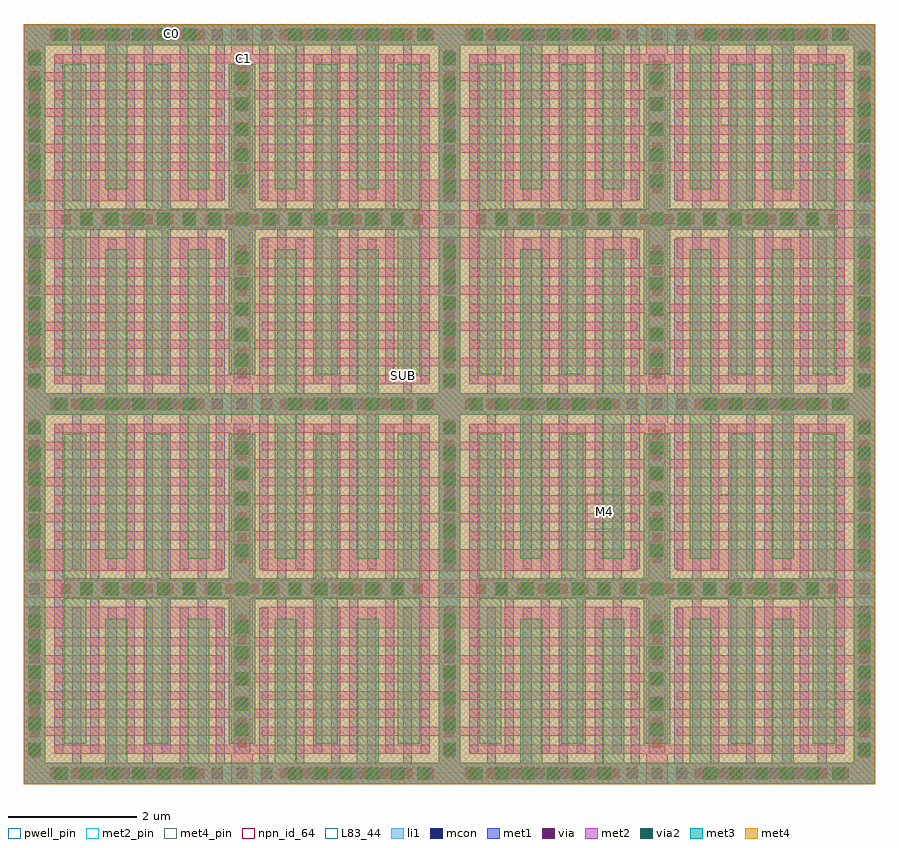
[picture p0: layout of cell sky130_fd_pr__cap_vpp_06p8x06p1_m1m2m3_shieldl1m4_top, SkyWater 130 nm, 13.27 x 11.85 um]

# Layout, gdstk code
import gdstk
lib = gdstk.Library(unit=1e-6, precision=1e-09)
def R(c, l, rs):  # rectangles x0, y0, x1, y1
    for r in rs: c.add(gdstk.rectangle(r[:2], r[2:], *l))
def A(c, l, x, y, w, h, nx, ny, dx, dy):  # array of equal rectangles
    R(c, l, [(x+i*dx, y+j*dy, x+i*dx+w, y+j*dy+h) for i in range(nx) for j in range(ny)])
def P(c, l, *ps):  # polygons
    for p in ps: c.add(gdstk.Polygon(p, *l))
li1 = (67, 20)
mcon = (67, 44)
met1 = (68, 20)
via = (68, 44)
met2_pin = (69, 16)
met2 = (69, 20)
via2 = (69, 44)
met3 = (70, 20)
met4_pin = (71, 16)
met4 = (71, 20)
npn_id_64 = (82, 64)
L83_44 = (83, 44)
pwell_pin = (122, 16)

sky130_fd_pr__cap_vpp_06 = lib.new_cell('sky130_fd_pr__cap_vpp_06p8x06p1_m1m2m3_shieldl1m4')
R(sky130_fd_pr__cap_vpp_06, li1, [(0,0,6.8,6.09)])
A(sky130_fd_pr__cap_vpp_06, mcon, 0.41, 0.08, 0.17, 0.17, 8, 2, 0.36, 5.76)
A(sky130_fd_pr__cap_vpp_06, mcon, 3.7, 0.08, 0.17, 0.17, 8, 2, 0.36, 5.76)
A(sky130_fd_pr__cap_vpp_06, mcon, 0.08, 0.44, 0.17, 0.17, 1, 15, 0, 0.36)
A(sky130_fd_pr__cap_vpp_06, mcon, 6.55, 0.44, 0.17, 0.17, 1, 15, 0, 0.36)
R(sky130_fd_pr__cap_vpp_06, mcon, [(3.315,0.08,3.485,0.25), (3.315,5.84,3.485,6.01)])
P(sky130_fd_pr__cap_vpp_06, met1, [(6.33,5.62),(6.19,5.62),(6.19,3.205),(5.77,3.205),(5.77,5.62),(5.63,5.62),(5.63,3.205),(5.21,3.205),(5.21,5.62),(5.07,5.62),(5.07,3.205),(4.65,3.205),(4.65,5.62),(4.51,5.62),(4.51,3.205),(4.09,3.205),(4.09,5.62),(3.95,5.62),(3.95,3.205),(3.53,3.205),(3.53,5.62),(3.27,5.62),(3.27,3.205),(2.85,3.205),(2.85,5.62),(2.71,5.62),(2.71,3.205),(2.29,3.205),(2.29,5.62),(2.15,5.62),(2.15,3.205),(1.73,3.205),(1.73,5.62),(1.59,5.62),(1.59,3.205),(1.17,3.205),(1.17,5.62),(1.03,5.62),(1.03,3.205),(0.61,3.205),(0.61,5.62),(0.47,5.62),(0.47,0.47),(0.61,0.47),(0.61,2.885),(1.03,2.885),(1.03,0.47),(1.17,0.47),(1.17,2.885),(1.59,2.885),(1.59,0.47),(1.73,0.47),(1.73,2.885),(2.15,2.885),(2.15,0.47),(2.29,0.47),(2.29,2.885),(2.71,2.885),(2.71,0.47),(2.85,0.47),(2.85,2.885),(3.27,2.885),(3.27,0.47),(3.53,0.47),(3.53,2.885),(3.95,2.885),(3.95,0.47),(4.09,0.47),(4.09,2.885),(4.51,2.885),(4.51,0.47),(4.65,0.47),(4.65,2.885),(5.07,2.885),(5.07,0.47),(5.21,0.47),(5.21,2.885),(5.63,2.885),(5.63,0.47),(5.77,0.47),(5.77,2.885),(6.19,2.885),(6.19,0.47),(6.33,0.47)],
  [(6.8,6.09),(6.47,6.09),(6.47,0.33),(6.05,0.33),(6.05,2.745),(5.91,2.745),(5.91,0.33),(5.49,0.33),(5.49,2.745),(5.35,2.745),(5.35,0.33),(4.93,0.33),(4.93,2.745),(4.79,2.745),(4.79,0.33),(4.37,0.33),(4.37,2.745),(4.23,2.745),(4.23,0.33),(3.81,0.33),(3.81,2.745),(3.67,2.745),(3.67,0.33),(3.13,0.33),(3.13,2.745),(2.99,2.745),(2.99,0.33),(2.57,0.33),(2.57,2.745),(2.43,2.745),(2.43,0.33),(2.01,0.33),(2.01,2.745),(1.87,2.745),(1.87,0.33),(1.45,0.33),(1.45,2.745),(1.31,2.745),(1.31,0.33),(0.89,0.33),(0.89,2.745),(0.75,2.745),(0.75,0.33),(0.33,0.33),(0.33,5.76),(0.75,5.76),(0.75,3.345),(0.89,3.345),(0.89,5.76),(1.31,5.76),(1.31,3.345),(1.45,3.345),(1.45,5.76),(1.87,5.76),(1.87,3.345),(2.01,3.345),(2.01,5.76),(2.43,5.76),(2.43,3.345),(2.57,3.345),(2.57,5.76),(2.99,5.76),(2.99,3.345),(3.13,3.345),(3.13,5.76),(3.67,5.76),(3.67,3.345),(3.81,3.345),(3.81,5.76),(4.23,5.76),(4.23,3.345),(4.37,3.345),(4.37,5.76),(4.79,5.76),(4.79,3.345),(4.93,3.345),(4.93,5.76),(5.35,5.76),(5.35,3.345),(5.49,3.345),(5.49,5.76),(5.91,5.76),(5.91,3.345),(6.05,3.345),(6.05,5.76),(6.47,5.76),(6.47,6.09),(0,6.09),(0,0),(6.8,0)])
A(sky130_fd_pr__cap_vpp_06, via, 0.42, 0.09, 0.15, 0.15, 8, 2, 0.32, 5.76)
A(sky130_fd_pr__cap_vpp_06, via, 3.99, 0.09, 0.15, 0.15, 8, 2, 0.32, 5.76)
A(sky130_fd_pr__cap_vpp_06, via, 0.09, 0.41, 0.15, 0.15, 1, 7, 0, 0.32)
A(sky130_fd_pr__cap_vpp_06, via, 6.56, 0.41, 0.15, 0.15, 1, 7, 0, 0.32)
A(sky130_fd_pr__cap_vpp_06, via, 3.325, 0.57, 0.15, 0.15, 1, 7, 0, 0.32)
A(sky130_fd_pr__cap_vpp_06, via, 3.325, 3.45, 0.15, 0.15, 1, 7, 0, 0.32)
A(sky130_fd_pr__cap_vpp_06, via, 0.09, 3.61, 0.15, 0.15, 1, 7, 0, 0.32)
A(sky130_fd_pr__cap_vpp_06, via, 6.56, 3.61, 0.15, 0.15, 1, 7, 0, 0.32)
R(sky130_fd_pr__cap_vpp_06, via, [(0.58,2.97,0.73,3.12), (0.58,2.97,0.73,3.12), (0.9,2.97,1.05,3.12), (0.9,2.97,1.05,3.12), (1.22,2.97,1.37,3.12), (1.22,2.97,1.37,3.12), (1.54,2.97,1.69,3.12), (1.54,2.97,1.69,3.12), (1.86,2.97,2.01,3.12), (1.86,2.97,2.01,3.12), (1.86,2.97,2.01,3.12), (2.18,2.97,2.33,3.12), (2.18,2.97,2.33,3.12), (2.5,2.97,2.65,3.12), (2.5,2.97,2.65,3.12), (2.82,2.97,2.97,3.12), (2.82,2.97,2.97,3.12), (3.14,2.97,3.29,3.12), (3.14,2.97,3.29,3.12), (3.14,2.97,3.29,3.12), (3.51,2.97,3.66,3.12), (3.51,2.97,3.66,3.12), (3.83,2.97,3.98,3.12), (3.83,2.97,3.98,3.12), (4.15,2.97,4.3,3.12), (4.15,2.97,4.3,3.12), (4.47,2.97,4.62,3.12), (4.47,2.97,4.62,3.12), (4.47,2.97,4.62,3.12), (4.79,2.97,4.94,3.12), (4.79,2.97,4.94,3.12), (5.11,2.97,5.26,3.12), (5.11,2.97,5.26,3.12), (5.43,2.97,5.58,3.12), (5.43,2.97,5.58,3.12), (5.75,2.97,5.9,3.12), (5.75,2.97,5.9,3.12), (5.75,2.97,5.9,3.12), (6.07,2.97,6.22,3.12), (6.07,2.97,6.22,3.12)])
R(sky130_fd_pr__cap_vpp_06, met2_pin, [(3.26,5.845,3.52,6.025), (2.735,5.87,2.83,5.97)])
P(sky130_fd_pr__cap_vpp_06, met2, [(3.095,3.66),(0.33,3.66),(0.33,4.08),(3.095,4.08),(3.095,4.22),(0.33,4.22),(0.33,4.64),(3.095,4.64),(3.095,4.78),(0.33,4.78),(0.33,5.2),(3.095,5.2),(3.095,5.34),(0.33,5.34),(0.33,5.76),(3.095,5.76),(3.095,6.09),(0,6.09),(0,3.325),(3.095,3.325)],
  [(6.8,2.765),(3.705,2.765),(3.705,2.43),(6.47,2.43),(6.47,2.01),(3.705,2.01),(3.705,1.87),(6.47,1.87),(6.47,1.45),(3.705,1.45),(3.705,1.31),(6.47,1.31),(6.47,0.89),(3.705,0.89),(3.705,0.75),(6.47,0.75),(6.47,0.33),(3.705,0.33),(3.705,0),(6.8,0)],
  [(6.8,3.185),(3.565,3.185),(3.565,3.8),(6.33,3.8),(6.33,3.94),(3.565,3.94),(3.565,4.36),(6.33,4.36),(6.33,4.5),(3.565,4.5),(3.565,4.92),(6.33,4.92),(6.33,5.06),(3.565,5.06),(3.565,5.48),(6.33,5.48),(6.33,5.62),(3.565,5.62),(3.565,6.09),(3.235,6.09),(3.235,5.62),(0.47,5.62),(0.47,5.48),(3.235,5.48),(3.235,5.06),(0.47,5.06),(0.47,4.92),(3.235,4.92),(3.235,4.5),(0.47,4.5),(0.47,4.36),(3.235,4.36),(3.235,3.94),(0.47,3.94),(0.47,3.8),(3.235,3.8),(3.235,3.185),(0,3.185),(0,2.905),(3.235,2.905),(3.235,2.29),(0.47,2.29),(0.47,2.15),(3.235,2.15),(3.235,1.73),(0.47,1.73),(0.47,1.59),(3.235,1.59),(3.235,1.17),(0.47,1.17),(0.47,1.03),(3.235,1.03),(3.235,0.61),(0.47,0.61),(0.47,0.47),(3.235,0.47),(3.235,0),(3.565,0),(3.565,0.47),(6.33,0.47),(6.33,0.61),(3.565,0.61),(3.565,1.03),(6.33,1.03),(6.33,1.17),(3.565,1.17),(3.565,1.59),(6.33,1.59),(6.33,1.73),(3.565,1.73),(3.565,2.15),(6.33,2.15),(6.33,2.29),(3.565,2.29),(3.565,2.905),(6.8,2.905)],
  [(3.095,0.33),(0.33,0.33),(0.33,0.75),(3.095,0.75),(3.095,0.89),(0.33,0.89),(0.33,1.31),(3.095,1.31),(3.095,1.45),(0.33,1.45),(0.33,1.87),(3.095,1.87),(3.095,2.01),(0.33,2.01),(0.33,2.43),(3.095,2.43),(3.095,2.765),(0,2.765),(0,0),(3.095,0)],
  [(6.8,6.09),(3.705,6.09),(3.705,5.76),(6.47,5.76),(6.47,5.34),(3.705,5.34),(3.705,5.2),(6.47,5.2),(6.47,4.78),(3.705,4.78),(3.705,4.64),(6.47,4.64),(6.47,4.22),(3.705,4.22),(3.705,4.08),(6.47,4.08),(6.47,3.66),(3.705,3.66),(3.705,3.325),(6.8,3.325)])
A(sky130_fd_pr__cap_vpp_06, via2, 0.48, 0.065, 0.2, 0.2, 6, 2, 0.4, 5.76)
A(sky130_fd_pr__cap_vpp_06, via2, 4.13, 0.065, 0.2, 0.2, 6, 2, 0.4, 5.76)
A(sky130_fd_pr__cap_vpp_06, via2, 0.065, 0.44, 0.2, 0.2, 1, 6, 0, 0.4)
A(sky130_fd_pr__cap_vpp_06, via2, 6.535, 0.44, 0.2, 0.2, 1, 6, 0, 0.4)
A(sky130_fd_pr__cap_vpp_06, via2, 3.295, 0.745, 0.2, 0.2, 1, 5, 0, 0.4)
A(sky130_fd_pr__cap_vpp_06, via2, 0.875, 2.945, 0.2, 0.2, 6, 1, 0.4, 0)
A(sky130_fd_pr__cap_vpp_06, via2, 3.725, 2.945, 0.2, 0.2, 6, 1, 0.4, 0)
A(sky130_fd_pr__cap_vpp_06, via2, 0.065, 3.45, 0.2, 0.2, 1, 6, 0, 0.4)
A(sky130_fd_pr__cap_vpp_06, via2, 6.535, 3.45, 0.2, 0.2, 1, 6, 0, 0.4)
A(sky130_fd_pr__cap_vpp_06, via2, 3.295, 3.545, 0.2, 0.2, 1, 5, 0, 0.4)
R(sky130_fd_pr__cap_vpp_06, via2, [(3.3,2.945,3.5,3.145)])
P(sky130_fd_pr__cap_vpp_06, met3, [(6.17,5.46),(5.83,5.46),(5.83,3.21),(4.89,3.21),(4.89,5.46),(4.55,5.46),(4.55,3.21),(3.61,3.21),(3.61,5.46),(3.19,5.46),(3.19,3.21),(2.25,3.21),(2.25,5.46),(1.91,5.46),(1.91,3.21),(0.97,3.21),(0.97,5.46),(0.63,5.46),(0.63,0.63),(0.97,0.63),(0.97,2.88),(1.91,2.88),(1.91,0.63),(2.25,0.63),(2.25,2.88),(3.19,2.88),(3.19,0.63),(3.61,0.63),(3.61,2.88),(4.55,2.88),(4.55,0.63),(4.89,0.63),(4.89,2.88),(5.83,2.88),(5.83,0.63),(6.17,0.63)],
  [(6.8,6.09),(6.47,6.09),(6.47,0.33),(5.53,0.33),(5.53,2.58),(5.19,2.58),(5.19,0.33),(4.25,0.33),(4.25,2.58),(3.91,2.58),(3.91,0.33),(2.89,0.33),(2.89,2.58),(2.55,2.58),(2.55,0.33),(1.61,0.33),(1.61,2.58),(1.27,2.58),(1.27,0.33),(0.33,0.33),(0.33,5.76),(1.27,5.76),(1.27,3.51),(1.61,3.51),(1.61,5.76),(2.55,5.76),(2.55,3.51),(2.89,3.51),(2.89,5.76),(3.91,5.76),(3.91,3.51),(4.25,3.51),(4.25,5.76),(5.19,5.76),(5.19,3.51),(5.53,3.51),(5.53,5.76),(6.47,5.76),(6.47,6.09),(0,6.09),(0,0),(6.8,0)])
R(sky130_fd_pr__cap_vpp_06, met4_pin, [(4.395,4.51,4.66,4.785)])
R(sky130_fd_pr__cap_vpp_06, met4, [(0,0,6.8,6.09)])
R(sky130_fd_pr__cap_vpp_06, npn_id_64, [(0.17,0.17,6.63,5.92)])
R(sky130_fd_pr__cap_vpp_06, L83_44, [(0.17,0.17,6.63,5.92), (3.085,5.76,3.09,6.09), (3.235,6.08,3.565,6.085)])
R(sky130_fd_pr__cap_vpp_06, pwell_pin, [(2.735,4.37,2.84,4.615)])
sky130_fd_pr__cap_vpp_06.add(gdstk.Label('MET4', (4.53,4.65), layer=71, texttype=5))
sky130_fd_pr__cap_vpp_06.add(gdstk.Label('C0', (2.77,5.93), layer=69, texttype=5))
sky130_fd_pr__cap_vpp_06.add(gdstk.Label('C1', (3.365,5.935), layer=69, texttype=5))
sky130_fd_pr__cap_vpp_06.add(gdstk.Label('SUB', (2.79,4.495), layer=64, texttype=59))

c_sky130_fd_pr__cap_vpp_06 = lib.new_cell('sky130_fd_pr__cap_vpp_06p8x06p1_m1m2m3_shieldl1m4_top')
R(c_sky130_fd_pr__cap_vpp_06, met2_pin, [(3.37,11.235,3.49,11.375), (2.225,11.625,2.38,11.77)])
R(c_sky130_fd_pr__cap_vpp_06, met4_pin, [(8.775,3.975,9.33,4.525)])
R(c_sky130_fd_pr__cap_vpp_06, pwell_pin, [(5.895,6.345,5.945,6.395)])
r = gdstk.Reference(sky130_fd_pr__cap_vpp_06, (0,0)); r.repetition = gdstk.Repetition(2, 2, v1=(6.47,0), v2=(0,5.76)); c_sky130_fd_pr__cap_vpp_06.add(r)
c_sky130_fd_pr__cap_vpp_06.add(gdstk.Label('SUB', (5.92,6.37), layer=64, texttype=59))
c_sky130_fd_pr__cap_vpp_06.add(gdstk.Label('C0', (2.305,11.7), layer=69, texttype=5))
c_sky130_fd_pr__cap_vpp_06.add(gdstk.Label('C1', (3.43,11.305), layer=69, texttype=5))
c_sky130_fd_pr__cap_vpp_06.add(gdstk.Label('M4', (9.055,4.25), layer=71, texttype=5))

lib.write_gds('sky130_fd_pr__cap_vpp_06p8x06p1_m1m2m3_shieldl1m4_top.gds')
